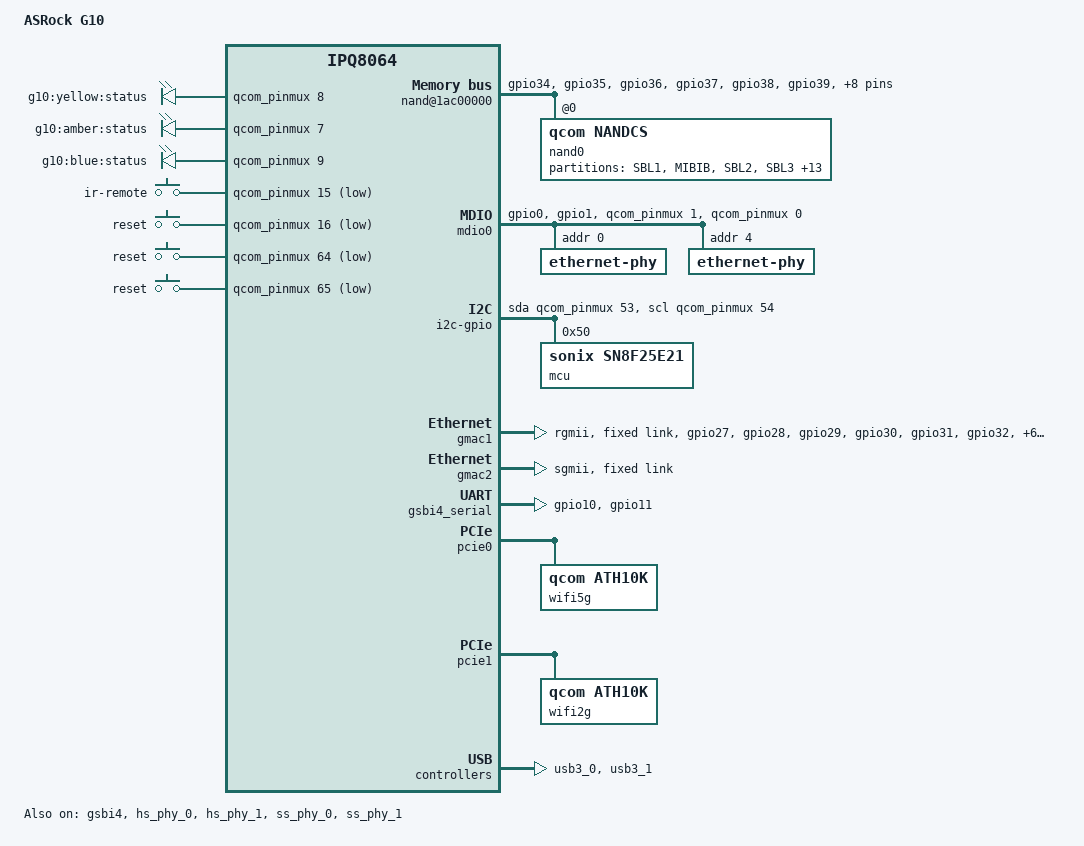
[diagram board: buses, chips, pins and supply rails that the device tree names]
// SPDX-License-Identifier: GPL-2.0
#include "qcom-ipq8064-v1.0.dtsi"

#include <dt-bindings/input/input.h>
#include <dt-bindings/soc/qcom,tcsr.h>

/ {
	compatible = "asrock,g10", "qcom,ipq8064";
	model = "ASRock G10";

	aliases {
		mdio-gpio0 = &mdio0;
		serial0 = &gsbi4_serial;
		ethernet0 = &gmac1;
		ethernet1 = &gmac0;

		led-boot = &led_blue;
		led-failsafe = &led_fail;
		led-running = &led_blue;
		led-upgrade = &led_blue;
	};

	reserved-memory {
		#address-cells = <1>;
		#size-cells = <1>;
		ranges;

		rsvd@41200000 {
			reg = <0x41200000 0x300000>;
			no-map;
		};
	};

	chosen {
		stdout-path = "serial0:115200n8";
	};

	soc {
		rpm@108000 {
			pinctrl-0 = <&rpm_pins>;
			pinctrl-names = "default";
		};

		nand@1ac00000 {
			status = "okay";

			pinctrl-0 = <&nand_pins>;
			pinctrl-names = "default";

			nand0@0 {
				compatible = "qcom,nandcs";

				reg = <0>;

				nand-ecc-strength = <4>;
				nand-bus-width = <8>;
				nand-ecc-step-size = <512>;

				partitions {
					compatible = "fixed-partitions";
					#address-cells = <1>;
					#size-cells = <1>;

					partition@0 {
						label = "SBL1";
						reg = <0x0000000 0x0040000>;
						read-only;
					};

					partition@40000 {
						label = "MIBIB";
						reg = <0x0040000 0x0140000>;
						read-only;
					};

					partition@180000 {
						label = "SBL2";
						reg = <0x0180000 0x0140000>;
						read-only;
					};

					partition@2c0000 {
						label = "SBL3";
						reg = <0x02c0000 0x0280000>;
						read-only;
					};

					partition@540000 {
						label = "DDRCONFIG";
						reg = <0x0540000 0x0120000>;
						read-only;
					};

					partition@660000 {
						label = "SSD";
						reg = <0x0660000 0x0120000>;
						read-only;
					};

					partition@780000 {
						label = "TZ";
						reg = <0x0780000 0x0280000>;
						read-only;
					};

					partition@a00000 {
						label = "RPM";
						reg = <0x0a00000 0x0280000>;
						read-only;
					};

					partition@c80000 {
						label = "APPSBL";
						reg = <0x0c80000 0x0500000>;
						read-only;
					};

					partition@1180000 {
						label = "APPSBLENV";
						reg = <0x1180000 0x0080000>;
						read-only;
					};

					partition@1200000 {
						label = "ART";
						reg = <0x1200000 0x0140000>;
						read-only;
					};

					partition@1340000 {
						label = "ubi";
						reg = <0x1340000 0x3000000>;
					};

					partition@4340000 {
						label = "BOOTCONFIG";
						reg = <0x4340000 0x0060000>;
						read-only;
					};

					partition@43a0000 {
						label = "APPSBL1";
						reg = <0x43a0000 0x0500000>;
						read-only;
					};

					partition@48a0000 {
						label = "ubi1";
						reg = <0x48a0000 0x3000000>;
					};

					partition@78a0000 {
						label = "hwconfig";
						reg = <0x78a0000 0x0040000>;
						read-only;
					};

					partition@7e80000 {
						label = "nvram";
						reg = <0x78e0000 0x0040000>;
						read-only;
					};
				};
			};
		};
	};

	mdio0: mdio {
		#address-cells = <1>;
		#size-cells = <0>;

		compatible = "virtual,mdio-gpio";

		pinctrl-0 = <&mdio0_pins>;
		pinctrl-names = "default";

		gpios = <&qcom_pinmux 1 GPIO_ACTIVE_HIGH &qcom_pinmux 0 GPIO_ACTIVE_HIGH>;

		ethernet-phy@0 {
			reg = <0>;
			qca,ar8327-initvals = <
				0x00004 0x7600000   /* PAD0_MODE */
				0x00008 0x1000000   /* PAD5_MODE */
				0x0000c 0x80        /* PAD6_MODE */
				0x000e4 0x6a545     /* MAC_POWER_SEL */
				0x000e0 0xc74164de  /* SGMII_CTRL */
				0x0007c 0x4e        /* PORT0_STATUS */
				0x00094 0x4e        /* PORT6_STATUS */
				>;
		};

		ethernet-phy@4 {
			reg = <4>;
		};
	};

	leds {
		compatible = "gpio-leds";

		pinctrl-0 = <&led_pins>;
		pinctrl-names = "default";

		/*
		 * this is a bit misleading. Because there are about seven
		 * multicolor LEDs connected all wired together in parallel.
		 */

		led_yellow: yellow {
			label = "g10:yellow:status";
			gpios = <&qcom_pinmux 8 GPIO_ACTIVE_HIGH>;
		};

		led_fail: fail {
			label = "g10:amber:status";
			gpios = <&qcom_pinmux 7 GPIO_ACTIVE_HIGH>;
		};

		led_blue: blue {
			label = "g10:blue:status";
			gpios = <&qcom_pinmux 9 GPIO_ACTIVE_HIGH>;
		};

		/*
		 * LED is declared in vendors boardfile but it's not
		 * working and the manual doesn't mention anything
		 * about the LED being white.

		white {
			label = "g10:white:status";
			gpios = <&qcom_pinmux 26 GPIO_ACTIVE_HIGH>;
		};
		*/
	};

	i2c-gpio {
		#address-cells = <1>;
		#size-cells = <0>;

		compatible = "i2c-gpio";
                gpios = <&qcom_pinmux 53 GPIO_ACTIVE_HIGH>, /* sda */
			<&qcom_pinmux 54 GPIO_ACTIVE_HIGH>; /* scl */
                i2c-gpio,delay-us = <5>;
		i2c-gpio,scl-output-only;

		mcu@50 {
			reg = <0x50>;
			compatible = "sonix,sn8f25e21";
		};
	};

	keys {
		compatible = "gpio-keys";

		pinctrl-0 = <&button_pins>;
		pinctrl-names = "default";

		ir-remote {
			label = "ir-remote";
			gpios = <&qcom_pinmux 15 GPIO_ACTIVE_LOW>;
			linux,code = <BTN_0>;
		};

		reset {
			label = "reset";
			gpios = <&qcom_pinmux 16 GPIO_ACTIVE_LOW>;
			linux,code = <KEY_RESTART>;
		};

		wps5g {
			label = "reset";
			gpios = <&qcom_pinmux 64 GPIO_ACTIVE_LOW>;
			linux,code = <KEY_WPS_BUTTON>;
		};

		wps2g {
			label = "reset";
			gpios = <&qcom_pinmux 65 GPIO_ACTIVE_LOW>;
			linux,code = <KEY_WPS_BUTTON>;
		};
	};
};

&adm_dma {
	status = "okay";
};

&gmac1 {
	status = "okay";

	pinctrl-0 = <&rgmii2_pins>;
	pinctrl-names = "default";

	phy-mode = "rgmii";
	qcom,id = <1>;

	fixed-link {
		speed = <1000>;
		full-duplex;
	};
};

&gmac2 {
	status = "okay";

	phy-mode = "sgmii";
	qcom,id = <2>;

	fixed-link {
		speed = <1000>;
		full-duplex;
	};
};

&gsbi4 {
	status = "okay";
	qcom,mode = <GSBI_PROT_I2C_UART>;
};

&gsbi4_serial {
	status = "okay";

	pinctrl-0 = <&uart0_pins>;
	pinctrl-names = "default";
};

&hs_phy_0 {		/* USB3 port 0 HS phy */
	status = "okay";
};

&hs_phy_1 {		/* USB3 port 1 HS phy */
	status = "okay";
};

&ss_phy_0 {		/* USB3 port 0 SS phy */
	status = "okay";

	rx_eq = <2>;
	tx_deamp_3_5db = <32>;
	mpll = <160>;
};

&ss_phy_1 {		/* USB3 port 1 SS phy */
	status = "okay";

	rx_eq = <2>;
	tx_deamp_3_5db = <32>;
	mpll = <160>;
};

&pcie0 {
	status = "okay";

	bridge@0,0 {
		reg = <0x00000000 0 0 0 0>;
		#address-cells = <3>;
		#size-cells = <2>;
		ranges;

		wifi5g: wifi@1,0 {
			reg = <0x00010000 0 0 0 0>;
			compatible = "qcom,ath10k";
			qcom,ath10k-calibration-variant = "ASRock-G10";
		};
	};
};

&pcie1 {
	status = "okay";

	bridge@0,0 {
		reg = <0x00000000 0 0 0 0>;
		#address-cells = <3>;
		#size-cells = <2>;
		ranges;

		wifi2g: wifi@1,0 {
			reg = <0x00010000 0 0 0 0>;
			compatible = "qcom,ath10k";
			qcom,ath10k-calibration-variant = "ASRock-G10";
		};
	};
};

&qcom_pinmux {
	led_pins: led_pins {
		mux {
			pins = "gpio7", "gpio8", "gpio9", "gpio26";
			function = "gpio";
			drive-strength = <2>;
			bias-pull-up;
		};
	};

	button_pins: button_pins {
		mux {
			pins = "gpio15", "gpio16", "gpio64", "gpio65";
			function = "gpio";
			drive-strength = <2>;
			bias-pull-up;
		};
	};

	rpm_pins: rpm_pins {
		mux {
			pins = "gpio12", "gpio13";
			function = "gsbi4";
			drive-strength = <10>;
			bias-disable;
		};
	};

	uart0_pins: uart0_pins {
		mux {
			pins = "gpio10", "gpio11";
			function = "gsbi4";
			drive-strength = <10>;
			bias-disable;
		};
	};

	nand_pins: nand_pins {
		mux {
			pins = "gpio34", "gpio35", "gpio36", "gpio37",
			       "gpio38", "gpio39", "gpio40", "gpio41",
			       "gpio42", "gpio43", "gpio44", "gpio45",
			       "gpio46", "gpio47";
			function = "nand";
			drive-strength = <10>;
			bias-disable;
		};

		pullups {
			pins = "gpio39";
			bias-pull-up;
		};

		hold {
			pins = "gpio40", "gpio41", "gpio42", "gpio43",
			       "gpio44", "gpio45", "gpio46", "gpio47";
			bias-bus-hold;
		};
	};

	mdio0_pins: mdio0_pins {
		mux {
			pins = "gpio0", "gpio1";
			function = "gpio";
			drive-strength = <8>;
			bias-disable;
		};
	};

	rgmii2_pins: rgmii2_pins {
		mux {
			pins = "gpio27", "gpio28", "gpio29", "gpio30",
			       "gpio31", "gpio32", "gpio51", "gpio52",
			       "gpio59", "gpio60", "gpio61", "gpio62";
			function = "rgmii2";
			drive-strength = <8>;
			bias-disable;
		};
	};
};

&usb3_0 {
	status = "okay";
};


&usb3_1 {
	status = "okay";
};

&tcsr {
	qcom,usb-ctrl-select = <TCSR_USB_SELECT_USB3_DUAL>;
};

/delete-node/ &pcie2_pins;
/delete-node/ &pcie2;
